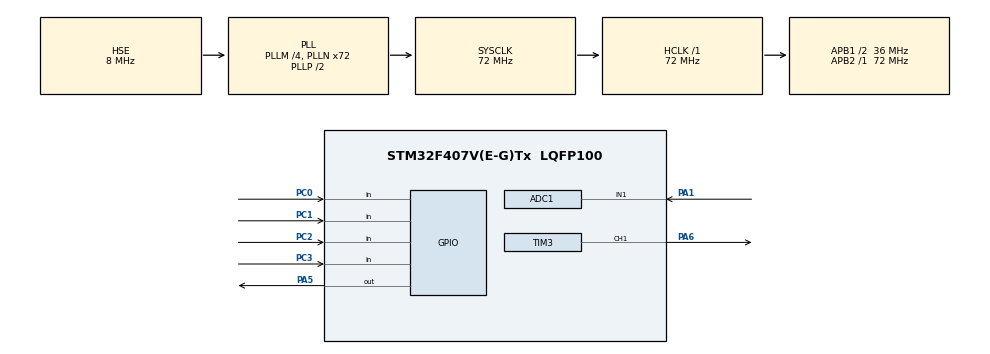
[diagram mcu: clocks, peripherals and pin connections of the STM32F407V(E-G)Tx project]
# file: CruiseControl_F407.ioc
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ADC1.Channel-0\#ChannelRegularConversion=ADC_CHANNEL_1
ADC1.InjNumberOfConversion=0
ADC1.NbrOfConversionFlag=1
ADC1.Rank-0\#ChannelRegularConversion=1
ADC1.SamplingTime-0\#ChannelRegularConversion=ADC_SAMPLETIME_3CYCLES
ADC1.master=1
Mcu.Family=STM32F4
Mcu.Name=STM32F407V(E-G)Tx
Mcu.Package=LQFP100
NVIC.PriorityGroup=NVIC_PRIORITYGROUP_4
NVIC.TIM2_IRQn=true\:0\:0\:false\:false\:true\:true\:true\:true
PA1.Signal=ADCx_IN1
PA5.Signal=GPIO_Output
PA6.Signal=S_TIM3_CH1
PC0.GPIO_PuPd=GPIO_PULLUP
PC0.Signal=GPIO_Input
PC1.GPIO_PuPd=GPIO_PULLUP
PC1.Signal=GPIO_Input
PC2.GPIO_PuPd=GPIO_PULLUP
PC2.Signal=GPIO_Input
PC3.GPIO_PuPd=GPIO_PULLUP
PC3.Signal=GPIO_Input
PH0-OSC_IN.Mode=HSE-External-Oscillator
PH0-OSC_IN.Signal=RCC_OSC_IN
PH1-OSC_OUT.Mode=HSE-External-Oscillator
PH1-OSC_OUT.Signal=RCC_OSC_OUT
ProjectManager.HeapSize=0x200
ProjectManager.StackSize=0x400
ProjectManager.TargetToolchain=CMake
RCC.48MHZClocksFreq_Value=36000000
RCC.AHBFreq_Value=72000000
RCC.APB1CLKDivider=RCC_HCLK_DIV2
RCC.APB1Freq_Value=36000000
RCC.APB1TimFreq_Value=72000000
RCC.APB2Freq_Value=72000000
RCC.APB2TimFreq_Value=72000000
RCC.CortexFreq_Value=72000000
RCC.HCLKFreq_Value=72000000
RCC.HSE_VALUE=8000000
RCC.HSI_VALUE=16000000
RCC.LSE_VALUE=32768
RCC.PLLM=4
RCC.PLLN=72
RCC.PLLSourceVirtual=RCC_PLLSOURCE_HSE
RCC.SYSCLKFreq_VALUE=72000000
RCC.SYSCLKSource=RCC_SYSCLKSOURCE_PLLCLK
RCC.VCOOutputFreq_Value=144000000
SH.ADCx_IN1.0=ADC1_IN1,IN1
SH.S_TIM3_CH1.0=TIM3_CH1,PWM Generation1 CH1
TIM2.Period=99
TIM2.Prescaler=7199
TIM3.Channel-PWM\ Generation1\ CH1=TIM_CHANNEL_1

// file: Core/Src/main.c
/* USER CODE BEGIN Header */
/**
  ******************************************************************************
  * @file           : main.c
  * @brief          : Main program body
  ******************************************************************************
  * @attention
  *
  * Copyright (c) 2026 STMicroelectronics.
  * All rights reserved.
  *
  * This software is licensed under terms that can be found in the LICENSE file
  * in the root directory of this software component.
  * If no LICENSE file comes with this software, it is provided AS-IS.
  *
  ******************************************************************************
  */
/* USER CODE END Header */
#include "main.h"
#include "CruiseControl.h" /* SWC sinh từ Simulink: khai báo _Step(), _Init(), prototype cho các hàm RTE */

ADC_HandleTypeDef hadc1;

TIM_HandleTypeDef htim2;
TIM_HandleTypeDef htim3;

/* USER CODE BEGIN PV */

/* ---- Simplified RTE buffers: thay cả stack AUTOSAR RTE bằng biến chia sẻ ----
 * volatile vì được truy cập trong ISR (TIM2) lẫn main → cấm compiler cache  */

static volatile float32 rte_VehSpdLgt   = 0.0f;   /* R-Port: tốc độ đo  [km/h] */
static volatile float32 rte_VehSpdSetPt = 0.0f;   /* R-Port: tốc độ đặt [km/h] */
static volatile boolean rte_CcEna       = 0;      /* R-Port: cờ bật cruise     */
static volatile float32 rte_EngTqReq    = 0.0f;   /* P-Port: lệnh ga    [%]    */

/* ---- Mode manager (tương đương Stateflow chart) ---- */
typedef enum { CC_OFF = 0, CC_ACTIVE, CC_OVERRIDE } CcMode_t;
static volatile CcMode_t cc_mode = CC_OFF;

/* ---- Giá trị ADC thô (biến trở giả lập cảm biến tốc độ) ---- */
static volatile uint16_t adc_raw = 0;
/* USER CODE END PV */

void SystemClock_Config(void);
static void MX_GPIO_Init(void);
static void MX_ADC1_Init(void);
static void MX_TIM2_Init(void);
static void MX_TIM3_Init(void);

/* USER CODE BEGIN 0 */
/* ============ Simplified RTE: định nghĩa thân các hàm mà SWC gọi ============
 * Các prototype nằm trong stub/Rte_CruiseControl.h; ở đây ta nối với biến thật */

float32 Rte_IRead_CruiseControl_Step_VehSpdLgt_VehSpdLgt(void)     { return rte_VehSpdLgt;   }
float32 Rte_IRead_CruiseControl_Step_VehSpdSetPt_VehSpdSetPt(void) { return rte_VehSpdSetPt; }
boolean Rte_IRead_CruiseControl_Step_CcEna_CcEna(void)             { return rte_CcEna;       }
void    Rte_IWrite_CruiseControl_Step_EngTqReq_EngTqReq(float32 u) { rte_EngTqReq = u;       }

/* ============ CcModeMgr: state machine OFF / ACTIVE / OVERRIDE ============ */

static void CcModeMgr(uint8_t btnSet, uint8_t btnResume, uint8_t btnCancel,
                      uint8_t btnBrake, float32 pedal_pct)
{
    /* Phanh hoặc Cancel → tắt cruise ngay (ưu tiên an toàn) */
    if (btnBrake || btnCancel) {
        cc_mode = CC_OFF; rte_CcEna = 0; return;
    }

    switch (cc_mode) {
    case CC_OFF:
        if (btnSet) {                       /* Set → chốt tốc độ hiện tại làm set point */
            rte_VehSpdSetPt = rte_VehSpdLgt;
            cc_mode = CC_ACTIVE; rte_CcEna = 1;
        } else if (btnResume && rte_VehSpdSetPt > 0.0f) {  /* Resume → dùng set point cũ */
            cc_mode = CC_ACTIVE; rte_CcEna = 1;
        }
        break;

    case CC_ACTIVE:
        if (pedal_pct > rte_EngTqReq + 5.0f) {   /* tài xế đạp ga vượt cruise → OVERRIDE */
            cc_mode = CC_OVERRIDE; rte_CcEna = 0;
        }
        break;

    case CC_OVERRIDE:
        if (pedal_pct <= rte_EngTqReq + 2.0f) {  /* nhả ga → quay lại giữ tốc */
            cc_mode = CC_ACTIVE; rte_CcEna = 1;
        }
        break;

    default:
        cc_mode = CC_OFF; rte_CcEna = 0; break;
    }
}

/* ============ ISR 100 Hz: nơi gọi runnable mỗi 10 ms ============ */

void HAL_TIM_PeriodElapsedCallback(TIM_HandleTypeDef *htim)
{
    if (htim->Instance != TIM2) return;        /* chỉ xử lý TIM2 */

    /* 1) Đọc ADC non-blocking → tốc độ km/h (conversion đã start từ tick trước) */
    if (HAL_ADC_PollForConversion(&hadc1, 0) == HAL_OK) {
        adc_raw = (uint16_t)HAL_ADC_GetValue(&hadc1);
    }
    HAL_ADC_Start(&hadc1);                      /* kích conversion cho tick sau */
    rte_VehSpdLgt = (float32)adc_raw * 200.0f / 4095.0f;   /* 0..200 km/h */

    /* 2) Bàn đạp ga tài xế (chưa nối phần cứng → để 0) */
    float32 pedal_pct = 0.0f;

    /* 3) Đọc 4 nút active-low (nhấn = mức 0 → đảo lại thành 1) */
    uint8_t bSet    = (HAL_GPIO_ReadPin(GPIOC, GPIO_PIN_0) == GPIO_PIN_RESET);
    uint8_t bResume = (HAL_GPIO_ReadPin(GPIOC, GPIO_PIN_1) == GPIO_PIN_RESET);
    uint8_t bCancel = (HAL_GPIO_ReadPin(GPIOC, GPIO_PIN_2) == GPIO_PIN_RESET);
    uint8_t bBrake  = (HAL_GPIO_ReadPin(GPIOC, GPIO_PIN_3) == GPIO_PIN_RESET);

    /* 4) Mode manager → cập nhật rte_CcEna / rte_VehSpdSetPt */
    CcModeMgr(bSet, bResume, bCancel, bBrake, pedal_pct);

    /* 5) Chạy runnable AUTOSAR: PI + anti-windup → rte_EngTqReq */
    CruiseControl_Step();

    /* 6) Xuất ga ra PWM (khi OFF/OVERRIDE thì lấy trực tiếp bàn đạp tài xế) */
    float32 cmd = rte_CcEna ? rte_EngTqReq : pedal_pct;
    if (cmd < 0.0f)   cmd = 0.0f;
    if (cmd > 100.0f) cmd = 100.0f;
    uint32_t arr  = __HAL_TIM_GET_AUTORELOAD(&htim3);
    uint32_t duty = (uint32_t)(cmd / 100.0f * (float32)arr);
    __HAL_TIM_SET_COMPARE(&htim3, TIM_CHANNEL_1, duty);

    /* 7) LED báo cruise đang active */
    HAL_GPIO_WritePin(GPIOA, GPIO_PIN_5, rte_CcEna ? GPIO_PIN_SET : GPIO_PIN_RESET);
}
/* USER CODE END 0 */

int main(void)
 {

  /* MCU Configuration--------------------------------------------------------*/

  /* Reset of all peripherals, Initializes the Flash interface and the Systick. */
  HAL_Init();

  /* Configure the system clock */
  SystemClock_Config();

  /* Initialize all configured peripherals */
  MX_GPIO_Init();
  MX_ADC1_Init();
  MX_TIM2_Init();
  MX_TIM3_Init();
  /* USER CODE BEGIN 2 */
  CruiseControl_Init();                          /* khởi tạo trạng thái integrator = 0 */

  HAL_ADC_Start(&hadc1);                         /* bắt đầu ADC */
  HAL_TIM_PWM_Start(&htim3, TIM_CHANNEL_1);      /* bật PWM ga PA6 */
  HAL_TIM_Base_Start_IT(&htim2);                 /* bật ngắt 100 Hz → chạy control loop */
  /* USER CODE END 2 */

  /* Infinite loop */
  while (1)
  {

  }
}

void SystemClock_Config(void)
{
  RCC_OscInitTypeDef RCC_OscInitStruct = {0};
  RCC_ClkInitTypeDef RCC_ClkInitStruct = {0};

  /** Configure the main internal regulator output voltage
  */
  __HAL_RCC_PWR_CLK_ENABLE();
  __HAL_PWR_VOLTAGESCALING_CONFIG(PWR_REGULATOR_VOLTAGE_SCALE1);

  /** Initializes the RCC Oscillators according to the specified parameters
  * in the RCC_OscInitTypeDef structure.
  */
  RCC_OscInitStruct.OscillatorType = RCC_OSCILLATORTYPE_HSE;
  RCC_OscInitStruct.HSEState = RCC_HSE_ON;
  RCC_OscInitStruct.PLL.PLLState = RCC_PLL_ON;
  RCC_OscInitStruct.PLL.PLLSource = RCC_PLLSOURCE_HSE;
  RCC_OscInitStruct.PLL.PLLM = 4;
  RCC_OscInitStruct.PLL.PLLN = 72;
  RCC_OscInitStruct.PLL.PLLP = RCC_PLLP_DIV2;
  RCC_OscInitStruct.PLL.PLLQ = 4;
  if (HAL_RCC_OscConfig(&RCC_OscInitStruct) != HAL_OK)
  {
    Error_Handler();
  }

  /** Initializes the CPU, AHB and APB buses clocks
  */
  RCC_ClkInitStruct.ClockType = RCC_CLOCKTYPE_HCLK|RCC_CLOCKTYPE_SYSCLK
                              |RCC_CLOCKTYPE_PCLK1|RCC_CLOCKTYPE_PCLK2;
  RCC_ClkInitStruct.SYSCLKSource = RCC_SYSCLKSOURCE_PLLCLK;
  RCC_ClkInitStruct.AHBCLKDivider = RCC_SYSCLK_DIV1;
  RCC_ClkInitStruct.APB1CLKDivider = RCC_HCLK_DIV2;
  RCC_ClkInitStruct.APB2CLKDivider = RCC_HCLK_DIV1;

  if (HAL_RCC_ClockConfig(&RCC_ClkInitStruct, FLASH_LATENCY_2) != HAL_OK)
  {
    Error_Handler();
  }
}

static void MX_ADC1_Init(void)
{

  ADC_ChannelConfTypeDef sConfig = {0};

  /** Configure the global features of the ADC (Clock, Resolution, Data Alignment and number of conversion)
  */
  hadc1.Instance = ADC1;
  hadc1.Init.ClockPrescaler = ADC_CLOCK_SYNC_PCLK_DIV2;
  hadc1.Init.Resolution = ADC_RESOLUTION_12B;
  hadc1.Init.ScanConvMode = DISABLE;
  hadc1.Init.ContinuousConvMode = DISABLE;
  hadc1.Init.DiscontinuousConvMode = DISABLE;
  hadc1.Init.ExternalTrigConvEdge = ADC_EXTERNALTRIGCONVEDGE_NONE;
  hadc1.Init.ExternalTrigConv = ADC_SOFTWARE_START;
  hadc1.Init.DataAlign = ADC_DATAALIGN_RIGHT;
  hadc1.Init.NbrOfConversion = 1;
  hadc1.Init.DMAContinuousRequests = DISABLE;
